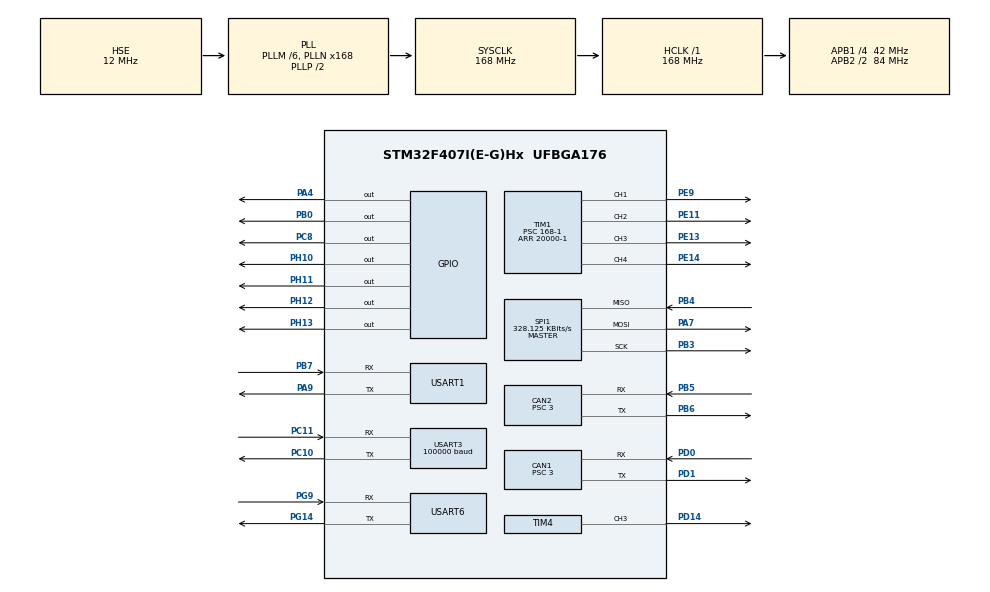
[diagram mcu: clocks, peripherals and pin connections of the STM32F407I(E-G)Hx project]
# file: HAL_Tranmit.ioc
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CAN1.BS1=CAN_BS1_10TQ
CAN1.BS2=CAN_BS2_3TQ
CAN1.CalculateBaudRate=1000000
CAN1.CalculateTimeBit=1000
CAN1.CalculateTimeQuantum=71.42857142857143
CAN1.Prescaler=3
CAN1.TXFP=ENABLE
CAN2.BS1=CAN_BS1_10TQ
CAN2.BS2=CAN_BS2_3TQ
CAN2.CalculateBaudRate=1000000
CAN2.CalculateTimeBit=1000
CAN2.CalculateTimeQuantum=71.42857142857143
CAN2.Prescaler=3
CAN2.TXFP=ENABLE
Dma.Request0=USART3_RX
Dma.Request1=USART6_RX
Dma.Request2=USART6_TX
Dma.Request3=USART1_RX
Dma.Request4=USART1_TX
Dma.USART1_RX.3.Direction=DMA_PERIPH_TO_MEMORY
Dma.USART1_RX.3.FIFOMode=DMA_FIFOMODE_DISABLE
Dma.USART1_RX.3.Instance=DMA2_Stream2
Dma.USART1_RX.3.MemDataAlignment=DMA_MDATAALIGN_BYTE
Dma.USART1_RX.3.MemInc=DMA_MINC_ENABLE
Dma.USART1_RX.3.Mode=DMA_CIRCULAR
Dma.USART1_RX.3.PeriphDataAlignment=DMA_PDATAALIGN_BYTE
Dma.USART1_RX.3.PeriphInc=DMA_PINC_DISABLE
Dma.USART1_RX.3.Priority=DMA_PRIORITY_HIGH
Dma.USART1_TX.4.Direction=DMA_MEMORY_TO_PERIPH
Dma.USART1_TX.4.FIFOMode=DMA_FIFOMODE_DISABLE
Dma.USART1_TX.4.Instance=DMA2_Stream7
Dma.USART1_TX.4.MemDataAlignment=DMA_MDATAALIGN_BYTE
Dma.USART1_TX.4.MemInc=DMA_MINC_ENABLE
Dma.USART1_TX.4.Mode=DMA_NORMAL
Dma.USART1_TX.4.PeriphDataAlignment=DMA_PDATAALIGN_BYTE
Dma.USART1_TX.4.PeriphInc=DMA_PINC_DISABLE
Dma.USART1_TX.4.Priority=DMA_PRIORITY_HIGH
Dma.USART3_RX.0.Direction=DMA_PERIPH_TO_MEMORY
Dma.USART3_RX.0.FIFOMode=DMA_FIFOMODE_DISABLE
Dma.USART3_RX.0.Instance=DMA1_Stream1
Dma.USART3_RX.0.MemDataAlignment=DMA_MDATAALIGN_BYTE
Dma.USART3_RX.0.MemInc=DMA_MINC_ENABLE
Dma.USART3_RX.0.Mode=DMA_CIRCULAR
Dma.USART3_RX.0.PeriphDataAlignment=DMA_PDATAALIGN_BYTE
Dma.USART3_RX.0.PeriphInc=DMA_PINC_DISABLE
Dma.USART3_RX.0.Priority=DMA_PRIORITY_VERY_HIGH
Dma.USART6_RX.1.Direction=DMA_PERIPH_TO_MEMORY
Dma.USART6_RX.1.FIFOMode=DMA_FIFOMODE_DISABLE
Dma.USART6_RX.1.Instance=DMA2_Stream1
Dma.USART6_RX.1.MemDataAlignment=DMA_MDATAALIGN_BYTE
Dma.USART6_RX.1.MemInc=DMA_MINC_ENABLE
Dma.USART6_RX.1.Mode=DMA_CIRCULAR
Dma.USART6_RX.1.PeriphDataAlignment=DMA_PDATAALIGN_BYTE
Dma.USART6_RX.1.PeriphInc=DMA_PINC_DISABLE
Dma.USART6_RX.1.Priority=DMA_PRIORITY_LOW
Dma.USART6_TX.2.Direction=DMA_MEMORY_TO_PERIPH
Dma.USART6_TX.2.FIFOMode=DMA_FIFOMODE_DISABLE
Dma.USART6_TX.2.Instance=DMA2_Stream6
Dma.USART6_TX.2.MemDataAlignment=DMA_MDATAALIGN_BYTE
Dma.USART6_TX.2.MemInc=DMA_MINC_ENABLE
Dma.USART6_TX.2.Mode=DMA_NORMAL
Dma.USART6_TX.2.PeriphDataAlignment=DMA_PDATAALIGN_BYTE
Dma.USART6_TX.2.PeriphInc=DMA_PINC_DISABLE
Dma.USART6_TX.2.Priority=DMA_PRIORITY_LOW
FREERTOS.Events01=EventCommunication,Dynamic,NULL
FREERTOS.Tasks01=defaultTask,24,128,StartDefaultTask,Default,NULL,Dynamic,NULL,NULL;chassis_start,41,512,chassis_task,As weak,NULL,Dynamic,NULL,NULL;can_send_start,44,128,can_send_task,As weak,NULL,Dynamic,NULL,NULL;gimbal_start,43,512,gimbal_task,As weak,NULL,Dynamic,NULL,NULL;imu_start,47,128,imu_send_task,As weak,NULL,Dynamic,NULL,NULL;nuc_start,8,128,nuc_send_task,As weak,NULL,Dynamic,NULL,NULL;supper_start,45,512,supper_task,As weak,NULL,Dynamic,NULL,NULL;led_task_start,40,128,led_task,As weak,NULL,Dynamic,NULL,NULL;shoot_start,41,512,shoot_task,As weak,NULL,Dynamic,NULL,NULL;mode_start,40,128,mode_task,As weak,NULL,Dynamic,NULL,NULL;ui_start,8,128,ui_task,As weak,NULL,Dynamic,NULL,NULL
Mcu.Family=STM32F4
Mcu.Name=STM32F407I(E-G)Hx
Mcu.Package=UFBGA176
NVIC.CAN1_RX0_IRQn=true\:5\:0\:true\:false\:true\:true\:true\:true\:true
NVIC.CAN1_TX_IRQn=true\:5\:0\:true\:false\:true\:true\:true\:true\:true
NVIC.CAN2_RX0_IRQn=true\:5\:0\:false\:false\:true\:true\:true\:true\:true
NVIC.CAN2_TX_IRQn=true\:5\:0\:false\:false\:true\:true\:true\:true\:true
NVIC.DMA1_Stream1_IRQn=true\:5\:0\:false\:false\:true\:true\:false\:true\:true
NVIC.DMA2_Stream1_IRQn=true\:5\:0\:false\:false\:true\:true\:false\:true\:true
NVIC.DMA2_Stream2_IRQn=true\:5\:0\:false\:false\:true\:true\:false\:true\:true
NVIC.DMA2_Stream6_IRQn=true\:5\:0\:false\:false\:true\:true\:false\:true\:true
NVIC.DMA2_Stream7_IRQn=true\:5\:0\:false\:false\:true\:true\:false\:true\:true
NVIC.PriorityGroup=NVIC_PRIORITYGROUP_4
NVIC.TIM2_IRQn=true\:15\:0\:false\:false\:true\:false\:false\:true\:true
NVIC.TIM6_DAC_IRQn=true\:5\:0\:false\:false\:true\:true\:true\:true\:true
NVIC.TimeBase=TIM2_IRQn
NVIC.TimeBaseIP=TIM2
NVIC.USART1_IRQn=true\:5\:0\:false\:false\:true\:true\:true\:true\:true
NVIC.USART3_IRQn=true\:5\:0\:false\:false\:true\:true\:true\:true\:true
NVIC.USART6_IRQn=true\:5\:0\:false\:false\:true\:true\:true\:true\:true
PA13.Mode=Serial_Wire
PA13.Signal=SYS_JTMS-SWDIO
PA14.Mode=Serial_Wire
PA14.Signal=SYS_JTCK-SWCLK
PA4.PinState=GPIO_PIN_SET
PA4.Signal=GPIO_Output
PA7.Mode=Full_Duplex_Master
PA7.Signal=SPI1_MOSI
PA9.Mode=Asynchronous
PA9.Signal=USART1_TX
PB0.PinState=GPIO_PIN_SET
PB0.Signal=GPIO_Output
PB3.Mode=Full_Duplex_Master
PB3.Signal=SPI1_SCK
PB4.Mode=Full_Duplex_Master
PB4.Signal=SPI1_MISO
PB5.Mode=CAN_Activate
PB5.Signal=CAN2_RX
PB6.Mode=CAN_Activate
PB6.Signal=CAN2_TX
PB7.Mode=Asynchronous
PB7.Signal=USART1_RX
PC10.Mode=Asynchronous
PC10.Signal=USART3_TX
PC11.Mode=Asynchronous
PC11.Signal=USART3_RX
PC8.GPIO_Speed=GPIO_SPEED_FREQ_HIGH
PC8.PinState=GPIO_PIN_SET
PC8.Signal=GPIO_Output
PD0.Mode=CAN_Activate
PD0.Signal=CAN1_RX
PD1.Mode=CAN_Activate
PD1.Signal=CAN1_TX
PD14.Signal=S_TIM4_CH3
PE11.Signal=S_TIM1_CH2
PE13.Signal=S_TIM1_CH3
PE14.Signal=S_TIM1_CH4
PE9.Signal=S_TIM1_CH1
PG14.Mode=Asynchronous
PG14.Signal=USART6_TX
PG9.Mode=Asynchronous
PG9.Signal=USART6_RX
PH0-OSC_IN.Mode=HSE-External-Oscillator
PH0-OSC_IN.Signal=RCC_OSC_IN
PH1-OSC_OUT.Mode=HSE-External-Oscillator
PH1-OSC_OUT.Signal=RCC_OSC_OUT
PH10.GPIO_Speed=GPIO_SPEED_FREQ_HIGH
PH10.PinState=GPIO_PIN_SET
PH10.Signal=GPIO_Output
PH11.GPIO_Speed=GPIO_SPEED_FREQ_HIGH
PH11.PinState=GPIO_PIN_SET
PH11.Signal=GPIO_Output
PH12.GPIO_Speed=GPIO_SPEED_FREQ_HIGH
PH12.PinState=GPIO_PIN_SET
PH12.Signal=GPIO_Output
PH13.Signal=GPIO_Output
ProjectManager.HeapSize=0x200
ProjectManager.StackSize=0x400
ProjectManager.TargetToolchain=MDK-ARM V5.32
RCC.48MHZClocksFreq_Value=84000000
RCC.AHBFreq_Value=168000000
RCC.APB1CLKDivider=RCC_HCLK_DIV4
RCC.APB1Freq_Value=42000000
RCC.APB1TimFreq_Value=84000000
RCC.APB2CLKDivider=RCC_HCLK_DIV2
RCC.APB2Freq_Value=84000000
RCC.APB2TimFreq_Value=168000000
RCC.CortexFreq_Value=168000000
RCC.HCLKFreq_Value=168000000
RCC.HSE_VALUE=12000000
RCC.HSI_VALUE=16000000
RCC.LSE_VALUE=32768
RCC.PLLM=6
RCC.PLLN=168
RCC.PLLSourceVirtual=RCC_PLLSOURCE_HSE
RCC.SYSCLKFreq_VALUE=168000000
RCC.SYSCLKSource=RCC_SYSCLKSOURCE_PLLCLK
RCC.VCOOutputFreq_Value=336000000
SH.S_TIM1_CH1.0=TIM1_CH1,PWM Generation1 CH1
SH.S_TIM1_CH2.0=TIM1_CH2,PWM Generation2 CH2
SH.S_TIM1_CH3.0=TIM1_CH3,PWM Generation3 CH3
SH.S_TIM1_CH4.0=TIM1_CH4,PWM Generation4 CH4
SH.S_TIM4_CH3.0=TIM4_CH3,PWM Generation3 CH3
SPI1.BaudRatePrescaler=SPI_BAUDRATEPRESCALER_256
SPI1.CLKPhase=SPI_PHASE_2EDGE
SPI1.CLKPolarity=SPI_POLARITY_HIGH
SPI1.CRCCalculation=SPI_CRCCALCULATION_DISABLE
SPI1.CalculateBaudRate=328.125 KBits/s
SPI1.Direction=SPI_DIRECTION_2LINES
SPI1.Mode=SPI_MODE_MASTER
SPI1.VirtualType=VM_MASTER
TIM1.Channel-PWM\ Generation1\ CH1=TIM_CHANNEL_1
TIM1.Channel-PWM\ Generation2\ CH2=TIM_CHANNEL_2
TIM1.Channel-PWM\ Generation3\ CH3=TIM_CHANNEL_3
TIM1.Channel-PWM\ Generation4\ CH4=TIM_CHANNEL_4
TIM1.Period=20000-1
TIM1.Prescaler=168-1
TIM4.AutoReloadPreload=TIM_AUTORELOAD_PRELOAD_ENABLE
TIM4.Channel-PWM\ Generation3\ CH3=TIM_CHANNEL_3
TIM4.OCFastMode_PWM-PWM\ Generation3\ CH3=TIM_OCFAST_DISABLE
TIM4.Period=600-1
TIM4.Prescaler=84-1
TIM6.Period=1000-1
TIM6.Prescaler=84-1
USART1.VirtualMode=VM_ASYNC
USART3.BaudRate=100000
USART3.Parity=PARITY_EVEN
USART3.VirtualMode=VM_ASYNC
USART6.VirtualMode=VM_ASYNC
VP_FREERTOS_VS_CMSIS_V2.Mode=CMSIS_V2
VP_SYS_VS_tim2.Mode=TIM2
VP_TIM6_VS_ClockSourceINT.Mode=Enable_Timer
board=custom

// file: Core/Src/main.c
/* USER CODE BEGIN Header */
/**
 ******************************************************************************
 * @file           : main.c
 * @brief          : Main program body
 ******************************************************************************
 * @attention
 *
 * Copyright (c) 2022 STMicroelectronics.
 * All rights reserved.
 *
 * This software is licensed under terms that can be found in the LICENSE file
 * in the root directory of this software component.
 * If no LICENSE file comes with this software, it is provided AS-IS.
 *
 ******************************************************************************
 */
/* USER CODE END Header */
#include "main.h"
#include "cmsis_os.h"
#include "can.h"
#include "dma.h"
#include "spi.h"
#include "tim.h"
#include "usart.h"
#include "gpio.h"

void SystemClock_Config(void);
void MX_FREERTOS_Init(void);

int main(void)
{

  /* MCU Configuration--------------------------------------------------------*/

  /* Reset of all peripherals, Initializes the Flash interface and the Systick. */
  HAL_Init();

  /* Configure the system clock */
  SystemClock_Config();

  /* Initialize all configured peripherals */
  MX_GPIO_Init();
  MX_CAN1_Init();
  MX_SPI1_Init();
  MX_USART1_UART_Init();
  MX_DMA_Init();
  MX_USART6_UART_Init();
  MX_USART3_UART_Init();
  MX_TIM6_Init();
  MX_TIM1_Init();
  MX_CAN2_Init();
  MX_TIM4_Init();
  /* USER CODE BEGIN 2 */
  DR16_Init();
  ALL_PWM_INIT();
  CAN_FIleter_init();
  Init_bmi088_nss();
  BMI088_init();
  Gimbal_Init();
  PID_Init();
  Referee_Init();
  NUC_Init();

  /* USER CODE END 2 */

  /* Init scheduler */
  osKernelInitialize(); /* Call init function for freertos objects (in freertos.c) */
  MX_FREERTOS_Init();

  /* Start scheduler */
  osKernelStart();

  /* We should never get here as control is now taken by the scheduler */
  /* Infinite loop */
  while (1)
  {

  }
}

void SystemClock_Config(void)
{
  RCC_OscInitTypeDef RCC_OscInitStruct = {0};
  RCC_ClkInitTypeDef RCC_ClkInitStruct = {0};

  /** Configure the main internal regulator output voltage
   */
  __HAL_RCC_PWR_CLK_ENABLE();
  __HAL_PWR_VOLTAGESCALING_CONFIG(PWR_REGULATOR_VOLTAGE_SCALE1);

  /** Initializes the RCC Oscillators according to the specified parameters
   * in the RCC_OscInitTypeDef structure.
   */
  RCC_OscInitStruct.OscillatorType = RCC_OSCILLATORTYPE_HSE;
  RCC_OscInitStruct.HSEState = RCC_HSE_ON;
  RCC_OscInitStruct.PLL.PLLState = RCC_PLL_ON;
  RCC_OscInitStruct.PLL.PLLSource = RCC_PLLSOURCE_HSE;
  RCC_OscInitStruct.PLL.PLLM = 6;
  RCC_OscInitStruct.PLL.PLLN = 168;
  RCC_OscInitStruct.PLL.PLLP = RCC_PLLP_DIV2;
  RCC_OscInitStruct.PLL.PLLQ = 4;
  if (HAL_RCC_OscConfig(&RCC_OscInitStruct) != HAL_OK)
  {
    Error_Handler();
  }

  /** Initializes the CPU, AHB and APB buses clocks
   */
  RCC_ClkInitStruct.ClockType = RCC_CLOCKTYPE_HCLK | RCC_CLOCKTYPE_SYSCLK | RCC_CLOCKTYPE_PCLK1 | RCC_CLOCKTYPE_PCLK2;
  RCC_ClkInitStruct.SYSCLKSource = RCC_SYSCLKSOURCE_PLLCLK;
  RCC_ClkInitStruct.AHBCLKDivider = RCC_SYSCLK_DIV1;
  RCC_ClkInitStruct.APB1CLKDivider = RCC_HCLK_DIV4;
  RCC_ClkInitStruct.APB2CLKDivider = RCC_HCLK_DIV2;

  if (HAL_RCC_ClockConfig(&RCC_ClkInitStruct, FLASH_LATENCY_5) != HAL_OK)
  {
    Error_Handler();
  }
}

/* USER CODE BEGIN 4 */

int g_z = 0;

/* USER CODE END 4 */

void HAL_TIM_PeriodElapsedCallback(TIM_HandleTypeDef *htim)
{
  if (htim->Instance == TIM2)
  {
    HAL_IncTick();
  }
  /* USER CODE BEGIN Callback 1 */
  if (htim->Instance == TIM6)
  {

    mpu_data.imu_tick_counts++;

    g_z = mpu_data.origin_data.gz * 2.0f;
    Yaw_Angle += g_z * 0.00003f; // 0.001 随时间积分刚好是角度值

    //			if(Yaw_Angle<-180.0f)	Yaw_Angle+=360.0;
    //			else if(Yaw_Angle>180.0f)	Yaw_Angle-=360.0;
  }
  /* USER CODE END Callback 1 */
}

void Error_Handler(void)
{
  __disable_irq();
  while (1)
  {
  }
}

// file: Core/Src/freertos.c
/* USER CODE BEGIN Header */
/**
  ******************************************************************************
  * File Name          : freertos.c
  * Description        : Code for freertos applications
  ******************************************************************************
  * @attention
  *
  * Copyright (c) 2022 STMicroelectronics.
  * All rights reserved.
  *
  * This software is licensed under terms that can be found in the LICENSE file
  * in the root directory of this software component.
  * If no LICENSE file comes with this software, it is provided AS-IS.
  *
  ******************************************************************************
  */
/* USER CODE END Header */

#include "FreeRTOS.h"
#include "task.h"
#include "main.h"
#include "cmsis_os.h"

/* Definitions for defaultTask */
osThreadId_t defaultTaskHandle;
const osThreadAttr_t defaultTask_attributes = {
  .name = "defaultTask",
  .stack_size = 128 * 4,
  .priority = (osPriority_t) osPriorityNormal,
};
/* Definitions for chassis_start */
osThreadId_t chassis_startHandle;
const osThreadAttr_t chassis_start_attributes = {
  .name = "chassis_start",
  .stack_size = 512 * 4,
  .priority = (osPriority_t) osPriorityHigh1,
};
/* Definitions for can_send_start */
osThreadId_t can_send_startHandle;
const osThreadAttr_t can_send_start_attributes = {
  .name = "can_send_start",
  .stack_size = 128 * 4,
  .priority = (osPriority_t) osPriorityHigh4,
};
/* Definitions for gimbal_start */
osThreadId_t gimbal_startHandle;
const osThreadAttr_t gimbal_start_attributes = {
  .name = "gimbal_start",
  .stack_size = 512 * 4,
  .priority = (osPriority_t) osPriorityHigh3,
};
/* Definitions for imu_start */
osThreadId_t imu_startHandle;
const osThreadAttr_t imu_start_attributes = {
  .name = "imu_start",
  .stack_size = 128 * 4,
  .priority = (osPriority_t) osPriorityHigh7,
};
/* Definitions for nuc_start */
osThreadId_t nuc_startHandle;
const osThreadAttr_t nuc_start_attributes = {
  .name = "nuc_start",
  .stack_size = 128 * 4,
  .priority = (osPriority_t) osPriorityLow,
};
/* Definitions for supper_start */
osThreadId_t supper_startHandle;
const osThreadAttr_t supper_start_attributes = {
  .name = "supper_start",
  .stack_size = 512 * 4,
  .priority = (osPriority_t) osPriorityHigh5,
};
/* Definitions for led_task_start */
osThreadId_t led_task_startHandle;
const osThreadAttr_t led_task_start_attributes = {
  .name = "led_task_start",
  .stack_size = 128 * 4,
  .priority = (osPriority_t) osPriorityHigh,
};
/* Definitions for shoot_start */
osThreadId_t shoot_startHandle;
const osThreadAttr_t shoot_start_attributes = {
  .name = "shoot_start",
  .stack_size = 512 * 4,
  .priority = (osPriority_t) osPriorityHigh1,
};
/* Definitions for mode_start */
osThreadId_t mode_startHandle;
const osThreadAttr_t mode_start_attributes = {
  .name = "mode_start",
  .stack_size = 128 * 4,
  .priority = (osPriority_t) osPriorityHigh,
};
/* Definitions for ui_start */
osThreadId_t ui_startHandle;
const osThreadAttr_t ui_start_attributes = {
  .name = "ui_start",
  .stack_size = 128 * 4,
  .priority = (osPriority_t) osPriorityLow,
};
/* Definitions for EventCommunication */
osEventFlagsId_t EventCommunicationHandle;
const osEventFlagsAttr_t EventCommunication_attributes = {
  .name = "EventCommunication"
};

void StartDefaultTask(void *argument);
void chassis_task(void *argument);
void can_send_task(void *argument);
void gimbal_task(void *argument);
void imu_send_task(void *argument);
void nuc_send_task(void *argument);
void supper_task(void *argument);
void led_task(void *argument);
void shoot_task(void *argument);
void mode_task(void *argument);
void ui_task(void *argument);

void MX_FREERTOS_Init(void); /* (MISRA C 2004 rule 8.1) */

void MX_FREERTOS_Init(void) {

  /* Create the thread(s) */
  /* creation of defaultTask */
  defaultTaskHandle = osThreadNew(StartDefaultTask, NULL, &defaultTask_attributes);

  /* creation of chassis_start */
  chassis_startHandle = osThreadNew(chassis_task, NULL, &chassis_start_attributes);

  /* creation of can_send_start */
  can_send_startHandle = osThreadNew(can_send_task, NULL, &can_send_start_attributes);

  /* creation of gimbal_start */
  gimbal_startHandle = osThreadNew(gimbal_task, NULL, &gimbal_start_attributes);

  /* creation of imu_start */
  imu_startHandle = osThreadNew(imu_send_task, NULL, &imu_start_attributes);

  /* creation of nuc_start */
  nuc_startHandle = osThreadNew(nuc_send_task, NULL, &nuc_start_attributes);

  /* creation of supper_start */
  supper_startHandle = osThreadNew(supper_task, NULL, &supper_start_attributes);

  /* creation of led_task_start */
  led_task_startHandle = osThreadNew(led_task, NULL, &led_task_start_attributes);

  /* creation of shoot_start */
  shoot_startHandle = osThreadNew(shoot_task, NULL, &shoot_start_attributes);

  /* creation of mode_start */
  mode_startHandle = osThreadNew(mode_task, NULL, &mode_start_attributes);

  /* creation of ui_start */
  ui_startHandle = osThreadNew(ui_task, NULL, &ui_start_attributes);

  /* Create the event(s) */
  /* creation of EventCommunication */
  EventCommunicationHandle = osEventFlagsNew(&EventCommunication_attributes);

}

void StartDefaultTask(void *argument)
{
  /* USER CODE BEGIN StartDefaultTask */
  /* Infinite loop */
  for(;;)
  {
		static int chassis_sus_flag=1;
		static int gimbal_sus_flag=1;
		if(CHASSIS_SUSPEND&&chassis_sus_flag)
		{
			osThreadSuspend(chassis_startHandle);
			chassis_sus_flag = 0;
		}
		else if(GIMBAL_SUSPEND&&gimbal_sus_flag)
		{
			osThreadSuspend(gimbal_startHandle);
			gimbal_sus_flag = 0;
		}
    osDelay(1);
  }
  /* USER CODE END StartDefaultTask */
}

__weak void chassis_task(void *argument)
{
  for(;;)
  {
    osDelay(1);
  }
}

__weak void can_send_task(void *argument)
{
  for(;;)
  {
    osDelay(1);
  }
}

__weak void gimbal_task(void *argument)
{
  for(;;)
  {
    osDelay(1);
  }
}

__weak void imu_send_task(void *argument)
{
  for(;;)
  {
    osDelay(1);
  }
}

__weak void nuc_send_task(void *argument)
{
  for(;;)
  {
    osDelay(1);
  }
}

__weak void supper_task(void *argument)
{
  for(;;)
  {
    osDelay(1);
  }
}

__weak void led_task(void *argument)
{
  for(;;)
  {
    osDelay(1);
  }
}

__weak void shoot_task(void *argument)
{
  for(;;)
  {
    osDelay(1);
  }
}

__weak void mode_task(void *argument)
{
  for(;;)
  {
    osDelay(1);
  }
}

__weak void ui_task(void *argument)
{
  for(;;)
  {
    osDelay(1);
  }
}
